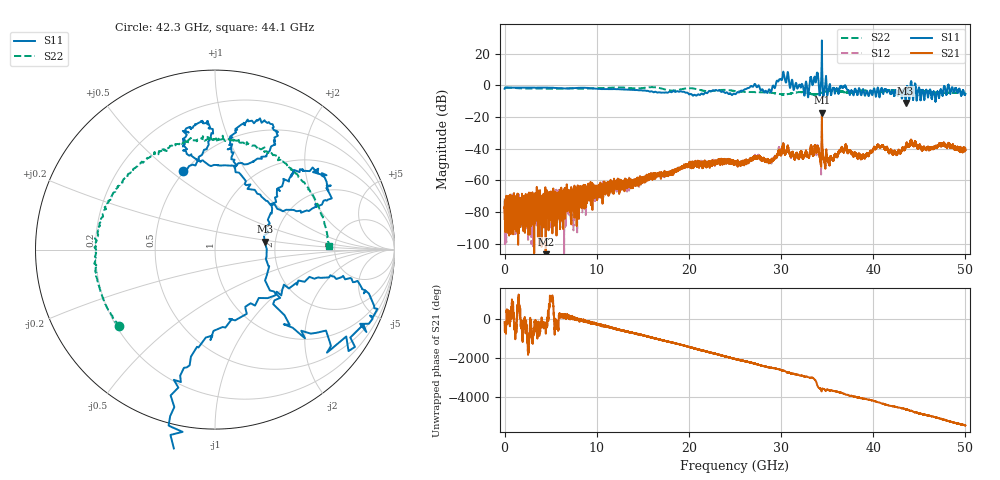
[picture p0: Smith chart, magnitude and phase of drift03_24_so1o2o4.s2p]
!Created with skrf (http://scikit-rf.org).
# Hz S RI R 50.0
!freq ReS11 ImS11 ReS21 ImS21 ReS12 ImS12 ReS22 ImS22
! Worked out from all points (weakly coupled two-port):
!   10000 points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, 5.3 MHz to 50 GHz, reference 50 ohm
!   highest |S21| = -17.18 dB at 34.43 GHz (marker M1); lowest = -111.0 dB at 4.46 GHz (marker M2)
!   lowest |S11| = -11.0 dB at 43.52 GHz (marker M3), VSWR 1.78, Z = 87.8 + j8.35 ohm
!   |S11| at or under -10 dB: 43.49371 GHz to 43.54542 GHz (51.71 MHz wide, 0.119 % of centre); 46.7485 GHz to 46.75218 GHz (3.678 MHz wide, 0.00787 % of centre); 46.76301 GHz to 46.76686 GHz (3.847 MHz wide, 0.00823 % of centre)
!   |S22| runs from -5.8 to -1.1 dB; largest |S21 - S12| = 0.041
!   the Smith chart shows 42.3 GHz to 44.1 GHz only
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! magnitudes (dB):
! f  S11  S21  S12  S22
! 5.3 MHz  -2.1  -77.1  -78.2  -1.3
! 4.46 GHz  -1.4  -111.0  -77.6  -2.0
! 8.34 GHz  -1.5  -67.8  -65.3  -2.1
! 16.67 GHz  -4.4  -56.3  -56.0  -1.5
! 20.15 GHz  -5.5  -50.0  -49.8  -1.7
! 25.01 GHz  -5.5  -48.0  -48.5  -3.5
! 27.02 GHz  -0.4  -46.4  -45.7  -4.3
! 28.72 GHz  -2.5  -48.7  -48.4  -4.5
! 30.14 GHz  4.4  -40.3  -40.6  -5.7
! 32.74 GHz  2.0  -42.5  -42.3  -4.6
! 33.34 GHz  2.5  -39.7  -40.1  -5.6
! 33.82 GHz  4.0  -42.4  -42.2  -5.6
! 34.43 GHz  28.4  -17.2  -18.9  -4.6
! 35.32 GHz  0.4  -46.1  -46.3  -3.4
! 36.83 GHz  -0.8  -41.9  -41.7  -4.2
! 38.85 GHz  -2.9  -44.6  -44.2  -3.2
! 40.57 GHz  -2.9  -37.8  -37.8  -4.0
! 41.67 GHz  -3.1  -42.5  -42.4  -3.3
! 43.52 GHz  -11.0  -38.4  -39.1  -4.2
! 46.94 GHz  -4.1  -38.3  -38.5  -4.8
! 48.32 GHz  -4.6  -38.0  -37.5  -4.6
! 50 GHz  -5.4  -40.0  -40.4  -4.6
